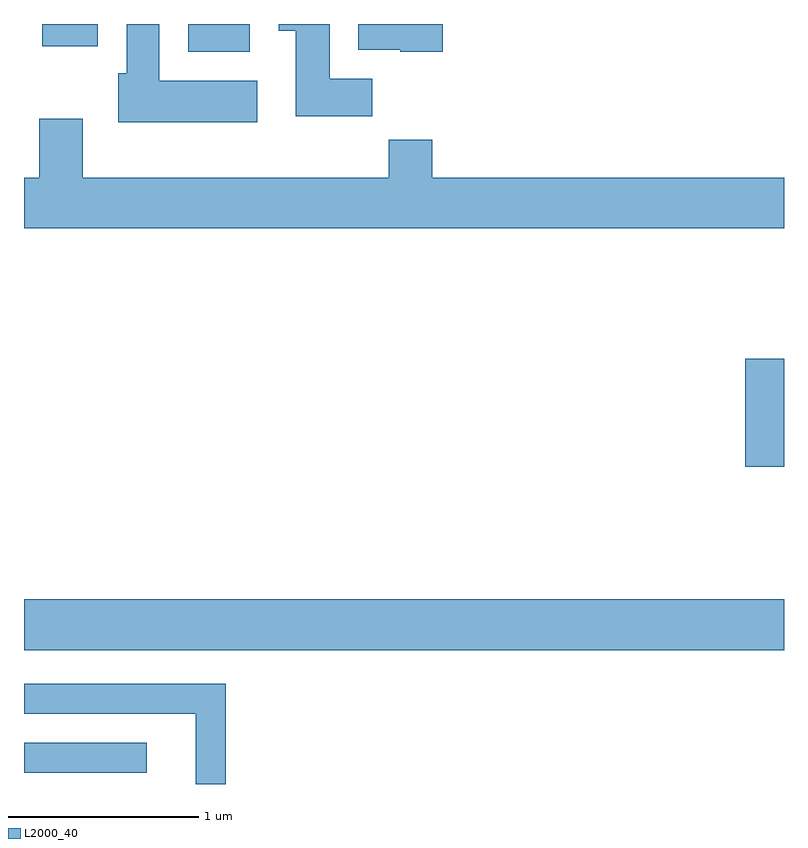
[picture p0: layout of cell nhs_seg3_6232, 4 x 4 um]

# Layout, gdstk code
import gdstk
lib = gdstk.Library(unit=1e-6, precision=1e-09)
def R(c, l, rs):  # rectangles x0, y0, x1, y1
    for r in rs: c.add(gdstk.rectangle(r[:2], r[2:], *l))
def P(c, l, *ps):  # polygons
    for p in ps: c.add(gdstk.Polygon(p, *l))
L2000_40 = (2000, 40)

nhs_seg3_6232 = lib.new_cell('nhs_seg3_6232')
R(nhs_seg3_6232, L2000_40, [(367.611,1211.951,368.258,1212.109), (367.611,1212.596,371.611,1212.864), (371.406,1213.561,371.611,1214.129), (368.476,1215.746,368.799,1215.892), (367.706,1215.776,367.999,1215.892)])
P(nhs_seg3_6232, L2000_40, [(369.444,1215.604),(369.219,1215.604),(369.219,1215.892),(368.951,1215.892),(368.951,1215.856),(369.041,1215.856),(369.041,1215.406),(369.444,1215.406)],
  [(368.839,1215.594),(368.324,1215.594),(368.324,1215.892),(368.151,1215.892),(368.151,1215.634),(368.106,1215.634),(368.106,1215.376),(368.839,1215.376)],
  [(369.814,1215.892),(369.371,1215.892),(369.371,1215.756),(369.59,1215.756),(369.59,1215.746),(369.814,1215.746)],
  [(371.611,1215.084),(369.759,1215.084),(369.759,1215.284),(369.531,1215.284),(369.531,1215.084),(367.919,1215.084),(367.919,1215.394),(367.691,1215.394),(367.691,1215.084),(367.611,1215.084),(367.611,1214.816),(371.611,1214.816)],
  [(368.674,1212.419),(367.611,1212.419),(367.611,1212.261),(368.516,1212.261),(368.516,1211.892),(368.674,1211.892)])

lib.write_gds('nhs_seg3_6232.gds')
